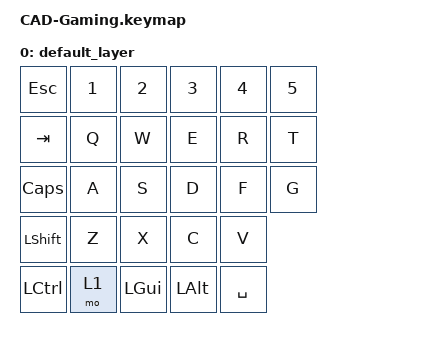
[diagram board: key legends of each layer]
#include <behaviors.dtsi>
#include <dt-bindings/zmk/keys.h>

/ {
    keymap {
        compatible = "zmk,keymap";

        default_layer { // Layer 0
            // -------------------------------------
            // |     ESC     |     1     |     2     |     3     |     4     |     5     |
            //         |   Tab     |     Q     |     W     |    E     |     R     |     T     |
            //            |  CapsLock |     A     |     S     |     D     |    F     |     G     |
            //          |      SHIFT     |     Z     |     X     |     C     |    V     |
            //   |    CTRL   |    LAYER 1   |  Windows  |    ALT    |   SPACE   |
            bindings = <
                &kp ESC    &kp 1    &kp 2    &kp 3    &kp 4    &kp 5
                &kp TAB    &kp Q    &kp W    &kp E    &kp R    &kp T
                &kp CAPS   &kp A    &kp S    &kp D    &kp F    &kp G
                &kp LSHIFT &kp Z    &kp X    &kp C    &kp V
                &kp LCTRL  &mo 1    &kp LGUI &kp LALT &kp SPACE
            >;
        };
    };
 };
